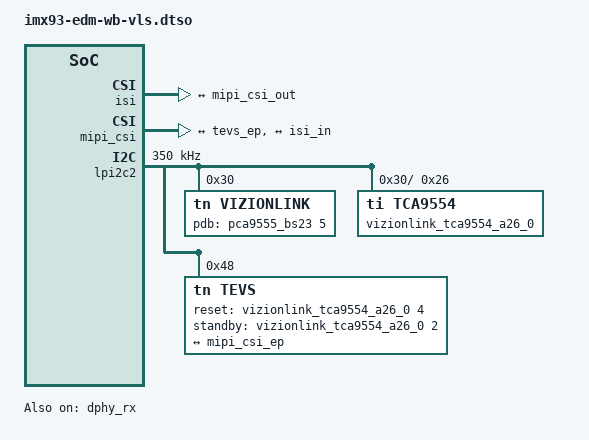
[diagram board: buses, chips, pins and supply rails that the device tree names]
// SPDX-License-Identifier: (GPL-2.0 OR MIT)
/*
 * Copyright 2024 TechNexion Ltd.
 *
 * Author: Nian Yang <nian.yang@technexion.com>
 *
 */

/dts-v1/;
/plugin/;

#include <dt-bindings/interrupt-controller/irq.h>
#include <dt-bindings/gpio/gpio.h>

&isi{
	#address-cells = <1>;
	#size-cells = <0>;
	status = "okay";

	port {
		isi_in: endpoint {
			remote-endpoint = <&mipi_csi_out>;
		};
	};
};

&mipi_csi {
	#address-cells = <1>;
	#size-cells = <0>;
	status = "okay";

	port@0 {
		reg = <0>;
		mipi_csi_ep: endpoint {
			remote-endpoint = <&tevs_ep>;
			data-lanes = <1 2>;
			clock-lanes = <0>;
		};
	};

	port@1 {
		reg = <1>;
		mipi_csi_out: endpoint {
			remote-endpoint = <&isi_in>;
		};
	};
};

&dphy_rx {
	#address-cells = <1>;
	#size-cells = <0>;
	status = "okay";
};

&lpi2c2 {
	#address-cells = <1>;
	#size-cells = <0>;
	status = "okay";

	clock-frequency = <350000>;

	vizionlink: vizionlink@30 {
		compatible = "tn,vizionlink";
		reg = <0x30>;
		pdb-gpios = <&pca9555_bs23 5 GPIO_ACTIVE_HIGH>;
		ser_alias_id = <0x1b>;

		//i2c addr alias map "gpio extender, eeprom , sensor"
		i2c_addr_alias_map_local = <0x26 0x48>;
		i2c_addr_alias_map_remote = <0x25 0x48>;

		//deserializer output csi lanes 1~4. default 4
		des_csi_lanes = <2>;

		//1: Enable 0: Disable continuous clock. default 0
		des_csi_continuous_clock = <0>;

		//serializer input csi lanes 1~4. default 4
		ser_csi_lanes = <2>;

		//1: Enable 0: Disable continuous clock. default 0
		ser_csi_continuous_clock = <0>;

		status = "okay";

		i2c_dev_list {
			#address-cells = <1>;
			#size-cells = <0>;

			vizionlink_tca9554_a26_0: vizionlink_tca9554@26 {
				compatible = "ti,tca9554";
				reg = <0x26>;
				gpio-controller;
				#gpio-cells = <2>;
				status = "okay";
			};
		};
	};

	tevs: tevs@48 {
		compatible = "tn,tevs";
		reg = <0x48>;
		status = "okay";

		reset-gpios = <&vizionlink_tca9554_a26_0 4 GPIO_ACTIVE_HIGH>;
		standby-gpios = <&vizionlink_tca9554_a26_0 2 GPIO_ACTIVE_HIGH>;

		port {
			tevs_ep: endpoint {
				remote-endpoint = <&mipi_csi_ep>;
				data-lanes = <1 2>;
				clock-lanes = <0>;
				clock-noncontinuous;
				link-frequencies = /bits/ 64 <400000000>;
			};
		};
	};
};
